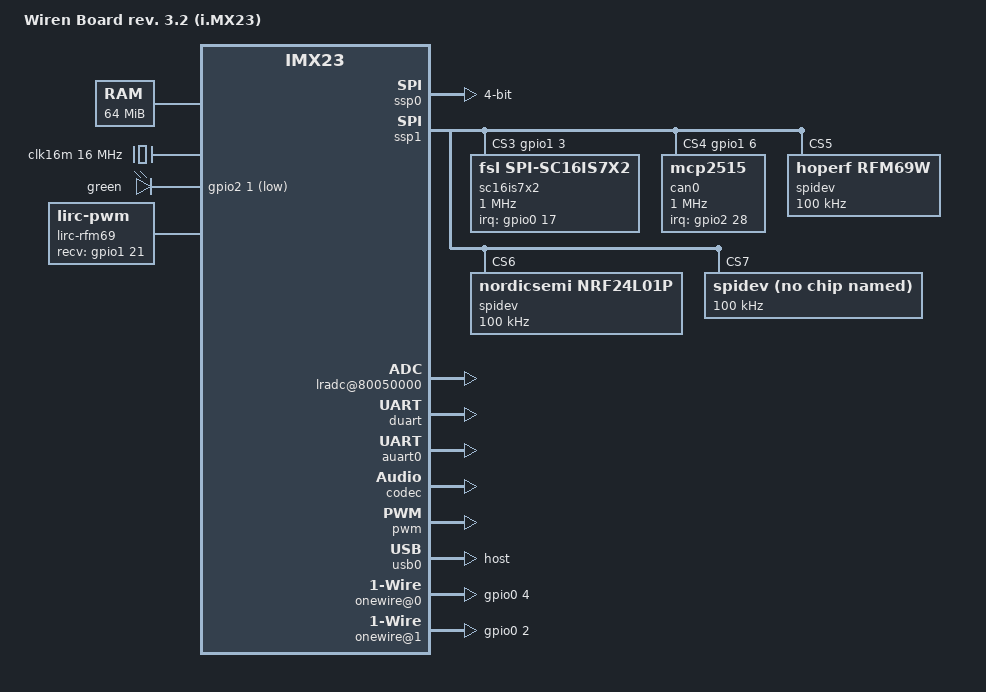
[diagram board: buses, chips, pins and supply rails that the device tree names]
/*
 * Copyright 2012 Freescale Semiconductor, Inc.
 *
 * Author: Fabio Estevam <fabio.estevam@freescale.com>
 *
 * The code contained herein is licensed under the GNU General Public
 * License. You may obtain a copy of the GNU General Public License
 * Version 2 or later at the following locations:
 *
 * http://www.opensource.org/licenses/gpl-license.html
 * http://www.gnu.org/copyleft/gpl.html
 */

/dts-v1/;
#include "imx23.dtsi"

/ {
	model = "Wiren Board rev. 3.2 (i.MX23)";
	compatible = "contactless,imx23-wirenboard32", "olimex,imx23-olinuxino", "fsl,imx23";

	memory {
		reg = <0x40000000 0x04000000>;
	};


    clk16m: oscillator {
         compatible = "fixed-clock";
         #clock-cells = <0>;
         clock-frequency  = <16000000>;
         clock-output-names = "clk16m";
    };

	apb@80000000 {
		apbh@80000000 {
			ssp0: ssp@80010000 {
				compatible = "fsl,imx23-mmc";
				pinctrl-names = "default";
				pinctrl-0 = <&mmc0_4bit_pins_a &mmc0_pins_fixup>;
				bus-width = <4>;
				broken-cd;
				status = "okay";
			};

			pinctrl@80018000 {
				pinctrl-names = "default";
				pinctrl-0 = <&hog_pins_a
							&pin_gpio_pu_0_5
							&pin_gpio_pu_0_6
							&pin_gpio_pu_0_7
							&pin_gpio_pu_0_16
							>;

				rfm69_raw_pins: rfm69_raw_pins@0 {
					reg = <0>;
					fsl,pinmux-ids = <
						MX23_PAD_LCD_CS__GPIO_1_21	/* RFM69_DIO2 */
					>;
					fsl,drive-strength = <0>;
					fsl,voltage = <1>;
					fsl,pull-up = <0>;
				};

				hog_pins_a: hog@0 {
					reg = <0>;
					fsl,pinmux-ids = <
						0x2013 /* MX23_PAD_SSP1_DETECT__GPIO_2_1 */
						0x0113 /* MX23_PAD_GPMI_ALE__GPIO_0_17 */
					>;
					fsl,drive-strength = <0>;
					fsl,voltage = <1>;
					fsl,pull-up = <0>;
				};

				led_pin_gpio2_1: led_gpio2_1@0 {
					reg = <0>;
					fsl,pinmux-ids = <
						0x2013 /* MX23_PAD_SSP1_DETECT__GPIO_2_1 */
					>;
					fsl,drive-strength = <0>;
					fsl,voltage = <1>;
					fsl,pull-up = <0>;
				};

				i2c_gpio: i2c_gpio {
					reg = <0>;
					fsl,pinmux-ids = <
						0x0173 // MX23_PAD_GPMI_WPN__GPIO_0_23
						0x0193 // MX23_PAD_GPMI_RDN__GPIO_0_25
					>;
					fsl,pull-up = <1>;
				};

		        i2c0_pins_a: i2c0@0 {
		           reg = <0>;
		           fsl,pinmux-ids = <
		           0x1171 /* MX23_PAD_LCD_ENABLE__I2C_SCL */
		           0x1181 /* MX23_PAD_LCD_HSYNC__I2C_SDA */
		           >;
		           fsl,drive-strength = <1>;
		           fsl,voltage = <1>;
		           fsl,pull-up = <1>;
		        };

		        i2c0_pins_a_gpio: i2c0_pins_a_gpio {
		           reg = <0>;
		           fsl,pinmux-ids = <
		           0x1173 /* MX23_PAD_LCD_ENABLE__GPIO_1_23 */
		           0x1183 /* MX23_PAD_LCD_HSYNC__GPIO_1_24 */
		           >;
		           fsl,drive-strength = <1>;
		           fsl,voltage = <1>;
		           fsl,pull-up = <1>;
		        };

				spi2_pins_nocs: spi2@0 {
					reg = <0>;
					fsl,pinmux-ids = <
						0x0182 /* MX23_PAD_GPMI_WRN__SSP2_SCK */
						0x0142 /* MX23_PAD_GPMI_RDY1__SSP2_CMD */
						0x0002 /* MX23_PAD_GPMI_D00__SSP2_DATA0 */
					>;
					fsl,drive-strength = <1>;
					fsl,voltage = <1>;
					fsl,pull-up = <1>;
				};

		        cs_mem_gpio_pins: cs_mem_gpio_pins{
		           reg = <0>;
		           fsl,pinmux-ids = <
			           0x0133 /* MX23_PAD_GPMI_RDY0__GPIO_0_19 */
		           >;
		           fsl,drive-strength = <1>;
		           fsl,voltage = <1>;
		        };


				pin_gpio_pu_0_5: pin_gpio_pu_0_5@0 {
					reg = <0>;
					fsl,pinmux-ids = <
						0x0053 /* MX23_PAD_GPMI_D05__GPIO_0_5 */

					>;
					fsl,drive-strength = <0>;
					fsl,voltage = <1>;
					/* enable 47K pull-up on terminal block R4 (gpio 5) */
					fsl,pull-up = <1>;
				};

				pin_gpio_pu_0_6: pin_gpio_pu_0_6@0 {
					reg = <0>;
					fsl,pinmux-ids = <
						0x0063 /* MX23_PAD_GPMI_D06__GPIO_0_6 */

					>;
					fsl,drive-strength = <0>;
					fsl,voltage = <1>;
					/* enable 47K pull-up on terminal block R3 (gpio 6) */
					fsl,pull-up = <1>;
				};

				pin_gpio_pu_0_7: pin_gpio_pu_0_7@0 {
					reg = <0>;
					fsl,pinmux-ids = <
						0x0073 /* MX23_PAD_GPMI_D07__GPIO_0_7 */

					>;
					fsl,drive-strength = <0>;
					fsl,voltage = <1>;
					/* enable 47K pull-up on terminal block R2 (gpio 7) */
					fsl,pull-up = <1>;
				};

				pin_gpio_pu_0_16: pin_gpio_pu_0_16@0 {
					reg = <0>;
					fsl,pinmux-ids = <
						0x0103 /* MX23_PAD_GPMI_CLE__GPIO_0_16 */

					>;
					fsl,drive-strength = <0>;
					fsl,voltage = <1>;
					/* enable 47K pull-up on terminal block R1 (gpio 16) */
					fsl,pull-up = <1>;
				};





			};

			ssp1: ssp@80034000 {
				#address-cells = <1>;
				#size-cells = <0>;
				compatible = "fsl,imx23-spi";
				pinctrl-names = "default";
				pinctrl-0 = <&spi2_pins_nocs &cs_mem_gpio_pins>;
				status = "okay";
				cs-gpios = <&gpio0 3 0 /* cs0 fixme: use hardware cs directly*/
							&gpio2 27 0 /* 91  25 @ CON2  MCP2515 chip select */
							&gpio1 19 0 /* 51  27 @ CON1  RFM69H chip select  */
							&gpio1 3 0  /* 35  6  @ CON1  NRF24L01 chip select   */

							&gpio1 6 0  /* 38  9  @ CON1  UEXT chip select   */


						  /*	&gpio0 19 0 *//* CS MEMORY (reg=8) */
							>;



				sc16is7x2@0 {
					compatible = "fsl,spi-sc16is7x2";
					spi-max-frequency = <1000000>;
					reg = <3>;
					gpio-base = <120>;
					uart-base = <0>;

					interrupt-parent = <&gpio0>;
					interrupts = <17 0>;
					uartclk = <14745600>;

					rs485-rts-active-high-a;
					rs485-rts-active-high-b;

					rs485-enabled-at-boot-time-a;
					rs485-enabled-at-boot-time-b;

				};




				can0: mcp2515@6 {
					compatible = "mcp2515";
					reg = <4>;
					spi-max-frequency = <1000000>;

					clocks = <&clk16m>;

					interrupt-parent = <&gpio2>;
					interrupts = <28 0>;  /* gpio 92, 24@con2 */
				};


				/* RFM69 spidev */
				spidev@5 {
					compatible = "hoperf,rfm69w";
					spi-max-frequency = <100000>;
					reg = <5>;
				};

				/* NRF24 spidev */
				spidev@6 {
					compatible = "nordicsemi,nrf24l01p";
					spi-max-frequency = <100000>;
					reg = <6>;
				};


				/* UEXT1 spidev */
				spidev@7 {
					compatible = "spidev";
					spi-max-frequency = <100000>;
					reg = <7>;
				};




				/*
				flash: flash@0 {
					#address-cells = <1>;
					#size-cells = <1>;
					compatible = "spansion,s25fl512s";
					reg = <8>;
					spi-max-frequency = <10000000>;
					m25p,fast-read;

					partition@0 {
						label = "loader";
						reg = <0x00000000 0x00080000>;
					};
					partition@80000 {
						label = "bootenv";
						reg = <0x00080000 0x00080000>;
					};
					partition@100000 {
						label = "data";
						reg = <0x00100000 0x03f00000>;
					};
				};
				*/







			};
		};

		apbx@80040000 {
			rtc@8005c000 {
				status = "okay";
			};

			lradc@80050000 {
				status = "okay";
			};

/* Uncomment no enable hardware i2c */
/*
			i2c0: i2c@80058000 {
				pinctrl-names = "default";
				pinctrl-0 = <&i2c0_pins_a>;
				status = "okay";
			};
*/
			duart: serial@80070000 {
				pinctrl-names = "default";
				pinctrl-0 = <&duart_pins_a>;
				status = "okay";
			};

			auart0: serial@8006c000 {
				pinctrl-names = "default";
				pinctrl-0 = <&auart0_2pins_a>;
				status = "okay";
			};

			usbphy0: usbphy@8007c000 {
				status = "okay";
			};


			codec: mxs-builtin-codec {
				compatible = "fsl,mxs-builtin-codec";
				reg = <0x80048000 0x2000>, <0x8004c000 0x2000>,
					<0x8005c000 0x2000>;
				reg-names = "audioout", "audioin", "rtc";
				clocks = <&clks 31>;
				clock-names = "filt";
				disable-mic-bias;
			};

			platform_dai: mxs-builtin-cpu-dai {
				compatible = "fsl,mxs-builtin-cpu-dai";
				reg = <0x80048000 0x2000>, <0x8004c000 0x2000>,
				<0x8005c000 0x2000>;
				reg-names = "audioout", "audioin", "rtc";
				interrupts = <8 6 4>;
				dmas = <&dma_apbx 0>, <&dma_apbx 1>;
				dma-names = "rx", "tx";
			};



			pwm: pwm@80064000 {
		            pinctrl-names = "default";
		            pinctrl-0 = <&pwm2_pins_a>;
		            status = "okay";
		    };






		};
	};

	ahb@80080000 {
		usb0: usb@80080000 {
		    /*vbus-supply = <&reg_33v_bus>;*/
			status = "okay";
			dr_mode = "host";
		};
	};


	leds {
		compatible = "gpio-leds";
		pinctrl-names = "default";
		pinctrl-0 = <&led_pin_gpio2_1>;

		user {
			label = "green";
			gpios = <&gpio2 1 1>;
			linux,default-trigger = "default-on";
		};
	};

	mxs-builtin-audio {
		compatible = "fsl,mxs-builtin-audio";
		audio-codec = <&codec>;
		cpu-dai = <&platform_dai>;
	};




	/* Enable 1-wire network on GPIO4 (terminal block W1) */
	onewire@0 {
		compatible = "w1-gpio";
		gpios = <&gpio0 4 0>;
	};

	/* Enable 1-wire network on GPIO2 (terminal block W2) */
	onewire@1 {
		compatible = "w1-gpio";
		gpios = <&gpio0 2 0>;
	};

	/* (uncomment to) Enable 1-wire network on GPIO1 (terminal block W3) */
	/*
	onewire@2 {
		compatible = "w1-gpio";
		gpios = <&gpio0 1 0>;
	};
	*/






	i2c2@0 {
			#address-cells = <1>;
			#size-cells = <0>;
			compatible = "i2c-gpio";
			gpios = <&gpio0 25 0 /* sda */
					 &gpio0 23 0 /* scl */
					>;
			i2c-gpio,delay-us = <2>;        /* ~100 kHz */
			i2c-gpio,scl-output-only = <0>;
			i2c-gpio,sda-open-drain = <1>;

			pinctrl-names = "default";
			pinctrl-0 = <&i2c_gpio>;

			/*status = "okay";*/
			status = "disabled";

			rtc@6f {
					compatible = "dallas,mcp7941x";
					reg = <0x6f>;
			};
			eeprom@57 {
					compatible = "at,24c02";
					reg = <0x57>;
			};


	};


	i2c1gpio@1 {
			compatible = "i2c-gpio";
			gpios = <&gpio1 24 0 /* sda */
					 &gpio1 23 0 /* scl */
					>;
			i2c-gpio,delay-us = <2>;        /* ~100 kHz */
			i2c-gpio,scl-output-only = <0>;
			i2c-gpio,sda-open-drain = <1>;

			pinctrl-names = "default";
			pinctrl-0 = <&i2c0_pins_a_gpio>;

			/*status = "okay";*/
			status = "disabled";
	};

	lirc-rfm69 {
		compatible = "lirc-pwm";
		pinctrl-names = "default";
		pinctrl-0 = <&rfm69_raw_pins>;
		gpio-recv = <&gpio1 21 0>;
	};


};
